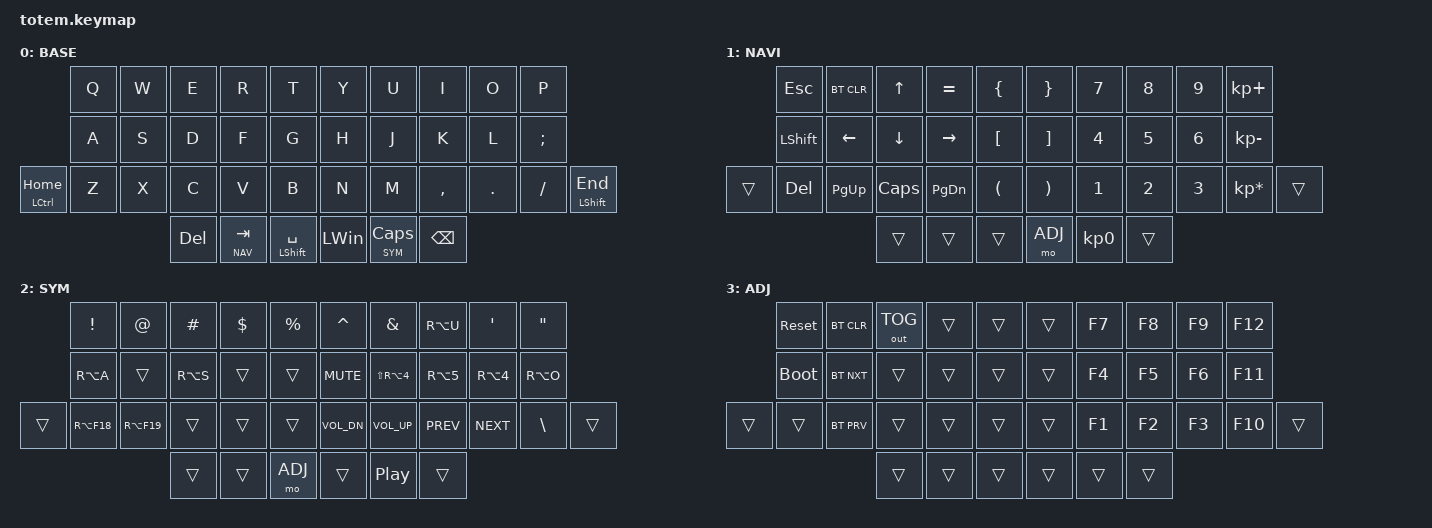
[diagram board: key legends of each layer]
//
//                                                        ▀▀▀▀▀     ▀▀▀▀▀          ▀▀█▀▀
//                                                        ▄▀▀▀▄  ▄  ▄▀▀▀▄  ▄  ▄▀▀▀▄  █  ▄▀▀▀▄
//                                                        █   █  █  █   █  █  █   █  █  █   █
//                                                         ▀▀▀   █   ▀▀▀   █   ▀▀▀   ▀   ▀▀▀
//                                                               █      ▄▄▄█▄▄▄    █   █  
//                                                               ▀      █  █  █     █▄█
//                                                             ▀▀▀▀▀    █  █  █      ▀
//                                                                      ▀  ▀  ▀
//
// ▄▄▄▄▄▄▄▄▄▄▄▄▄▄▄▄▄▄▄▄▄▄▄▄▄▄▄▄▄▄▄▄▄▄▄▄▄▄▄▄▄▄▄▄▄▄▄▄▄▄▄▄▄▄▄▄▄▄▄▄▄▄▄▄▄▄▄▄▄▄▄▄▄▄▄▄▄▄▄▄▄▄▄▄▄▄▄▄▄▄▄▄▄▄▄▄▄▄▄▄▄▄▄▄▄▄▄▄▄▄▄▄▄▄▄▄▄▄▄▄▄▄▄▄▄▄▄▄▄▄▄▄▄▄▄▄▄▄▄▄▄▄▄▄▄▄▄▄▄

#include <behaviors.dtsi>
#include <dt-bindings/zmk/bt.h>
#include <dt-bindings/zmk/keys.h>
#include <dt-bindings/zmk/outputs.h>

#define BASE 0
#define NAV  1
#define SYM  2
#define ADJ  3

&mt {
    quick-tap-ms = <100>;
    global-quick-tap;
    flavor = "tap-preferred";
    tapping-term-ms = <170>;
};

/ {
    combos {
        compatible = "zmk,combos";

        combo_esc {
            timeout-ms = <50>;
            key-positions = <0 1>;
            bindings = <&kp ESC>;
        };

        enter {
            bindings = <&kp ENTER>;
            key-positions = <16 17 18>;
        };
    };

    keymap {
        compatible = "zmk,keymap";

        // ▄▄▄▄▄▄▄▄▄▄▄▄▄▄▄▄▄▄▄▄▄▄▄▄▄▄▄▄▄▄▄▄▄▄▄▄▄▄▄▄▄▄▄▄▄▄▄▄▄▄▄▄▄▄▄▄▄▄▄▄▄▄▄▄▄▄▄▄▄▄▄▄▄▄▄▄▄▄▄▄▄▄▄▄▄▄▄▄▄▄▄▄▄▄▄▄▄▄▄▄▄▄▄▄▄▄▄▄▄▄▄▄▄▄▄▄▄▄▄▄▄▄▄▄▄▄▄▄▄▄▄▄▄▄▄▄▄▄▄▄▄▄▄▄▄▄▄▄▄

        base_layer {
            // ┏━━━━━━━━━━━━━━━━━━━━━━━━━━━━━━━━━━━━━━━┓

            label = "BASE";

            // ┗━━━━━━━━━━━━━━━━━━━━━━━━━━━━━━━━━━━━━━━┛
            //             ┏━━━━━━━━━━━┳━━━━━━━━━━━┳━━━━━━━━━━━┳━━━━━━━━━━━┳━━━━━━━━━━━┓   ┏━━━━━━━━━━━┳━━━━━━━━━━━┳━━━━━━━━━━━┳━━━━━━━━━━━┳━━━━━━━━━━━┓
            //             ┃     Q     ┃     W     ┃     E     ┃     R     ┃     T     ┃   ┃     Y     ┃     U     ┃     I     ┃     O     ┃     P     ┃
            //             ┣━━━━━━━━━━━╋━━━━━━━━━━━╋━━━━━━━━━━━╋━━━━━━━━━━━╋━━━━━━━━━━━┫   ┣━━━━━━━━━━━╋━━━━━━━━━━━╋━━━━━━━━━━━╋━━━━━━━━━━━╋━━━━━━━━━━━┫
            //             ┃     A     ┃     S     ┃     D     ┃     F     ┃     G     ┃   ┃     H     ┃     J     ┃     K     ┃     L     ┃     ;     ┃
            // ┏━━━━━━━━━━━╋━━━━━━━━━━━╋━━━━━━━━━━━╋━━━━━━━━━━━╋━━━━━━━━━━━╋━━━━━━━━━━━┫   ┣━━━━━━━━━━━╋━━━━━━━━━━━╋━━━━━━━━━━━╋━━━━━━━━━━━╋━━━━━━━━━━━╋━━━━━━━━━━━┓
            // ┃     Q     ┃     Z     ┃     X     ┃     C     ┃     V     ┃     B     ┃   ┃     N     ┃     M     ┃     ,     ┃     .     ┃     /     ┃     \     ┃
            // ┗━━━━━━━━━━━┻━━━━━━━━━━━┻━━━━━━━━━━━╋━━━━━━━━━━━╋━━━━━━━━━━━╋━━━━━━━━━━━┫   ┣━━━━━━━━━━━╋━━━━━━━━━━━╋━━━━━━━━━━━╋━━━━━━━━━━━┻━━━━━━━━━━━┻━━━━━━━━━━━┛
            //                                     ┃    DEL    ┃    TAB    ┃    SPC    ┃   ┃   ENTER   ┃           ┃   BSPC    ┃
            //                                     ┗━━━━━━━━━━━┻━━━━━━━━━━━┻━━━━━━━━━━━┛   ┗━━━━━━━━━━━┻━━━━━━━━━━━┻━━━━━━━━━━━┛

            bindings = <
                       &kp Q  &kp W  &kp E    &kp R        &kp T                   &kp Y         &kp U             &kp I          &kp O    &kp P
                       &kp A  &kp S  &kp D    &kp F        &kp G                   &kp H         &kp J             &kp K          &kp L    &kp SEMI
&mt LEFT_CONTROL HOME  &kp Z  &kp X  &kp C    &kp V        &kp B                   &kp N         &kp M             &kp COMMA      &kp DOT  &kp FSLH  &mt LEFT_SHIFT END
                                     &kp DEL  &lt NAV TAB  &mt LEFT_SHIFT SPACE    &kp LEFT_WIN  &lt SYM CAPSLOCK  &kp BACKSPACE
            >;
        };

        // ▄▄▄▄▄▄▄▄▄▄▄▄▄▄▄▄▄▄▄▄▄▄▄▄▄▄▄▄▄▄▄▄▄▄▄▄▄▄▄▄▄▄▄▄▄▄▄▄▄▄▄▄▄▄▄▄▄▄▄▄▄▄▄▄▄▄▄▄▄▄▄▄▄▄▄▄▄▄▄▄▄▄▄▄▄▄▄▄▄▄▄▄▄▄▄▄▄▄▄▄▄▄▄▄▄▄▄▄▄▄▄▄▄▄▄▄▄▄▄▄▄▄▄▄▄▄▄▄▄▄▄▄▄▄▄▄▄▄▄▄▄▄▄▄▄▄▄▄▄

        nav_layer {
            // ┏━━━━━━━━━━━━━━━━━━━━━━━━━━━━━━━━━━━━━━━┓

            label = "NAVI";

            // ┗━━━━━━━━━━━━━━━━━━━━━━━━━━━━━━━━━━━━━━━┛
            //             ┏━━━━━━━━━━━┳━━━━━━━━━━━┳━━━━━━━━━━━┳━━━━━━━━━━━┳━━━━━━━━━━━┓   ┏━━━━━━━━━━━┳━━━━━━━━━━━┳━━━━━━━━━━━┳━━━━━━━━━━━┳━━━━━━━━━━━┓
            //             ┃           ┃           ┃     UP    ┃           ┃     {     ┃   ┃     }     ┃     7     ┃     8     ┃     9     ┃     +     ┃
            //             ┣━━━━━━━━━━━╋━━━━━━━━━━━╋━━━━━━━━━━━╋━━━━━━━━━━━╋━━━━━━━━━━━┫   ┣━━━━━━━━━━━╋━━━━━━━━━━━╋━━━━━━━━━━━╋━━━━━━━━━━━╋━━━━━━━━━━━┫
            //             ┃   SHIFT   ┃   LEFT    ┃    DOWN   ┃   RIGHT   ┃     [     ┃   ┃     ]     ┃     4     ┃     5     ┃     6     ┃     -     ┃
            // ┏━━━━━━━━━━━╋━━━━━━━━━━━╋━━━━━━━━━━━╋━━━━━━━━━━━╋━━━━━━━━━━━╋━━━━━━━━━━━┫   ┣━━━━━━━━━━━╋━━━━━━━━━━━╋━━━━━━━━━━━╋━━━━━━━━━━━╋━━━━━━━━━━━╋━━━━━━━━━━━┓
            // ┃           ┃           ┃   P UP    ┃  C LOCK   ┃  P DOWN   ┃     (     ┃   ┃     )     ┃     1     ┃     2     ┃     3     ┃     *     ┃           ┃
            // ┗━━━━━━━━━━━┻━━━━━━━━━━━┻━━━━━━━━━━━╋━━━━━━━━━━━╋━━━━━━━━━━━╋━━━━━━━━━━━┫   ┣━━━━━━━━━━━╋━━━━━━━━━━━╋━━━━━━━━━━━╋━━━━━━━━━━━┻━━━━━━━━━━━┻━━━━━━━━━━━┛
            //                                     ┃           ┃    TAB    ┃    SPC    ┃   ┃    DEL    ┃     0     ┃           ┃
            //                                     ┗━━━━━━━━━━━┻━━━━━━━━━━━┻━━━━━━━━━━━┛   ┗━━━━━━━━━━━┻━━━━━━━━━━━┻━━━━━━━━━━━┛

            bindings = <
        &kp ESC    &bt BT_CLR  &kp UP    &kp EQUAL  &kp LBRC    &kp RBRC  &kp N7        &kp N8        &kp N9        &kp KP_PLUS
        &kp LSHFT  &kp LEFT    &kp DOWN  &kp RIGHT  &kp LBKT    &kp RBKT  &kp NUMBER_4  &kp N5        &kp NUMBER_6  &kp KP_MINUS
&trans  &kp DEL    &kp PG_UP   &kp CAPS  &kp PG_DN  &kp LPAR    &kp RPAR  &kp NUMBER_1  &kp NUMBER_2  &kp NUMBER_3  &kp KP_MULTIPLY  &trans
                               &trans    &trans     &trans      &mo ADJ   &kp KP_N0     &trans
            >;
        };

        // ▄▄▄▄▄▄▄▄▄▄▄▄▄▄▄▄▄▄▄▄▄▄▄▄▄▄▄▄▄▄▄▄▄▄▄▄▄▄▄▄▄▄▄▄▄▄▄▄▄▄▄▄▄▄▄▄▄▄▄▄▄▄▄▄▄▄▄▄▄▄▄▄▄▄▄▄▄▄▄▄▄▄▄▄▄▄▄▄▄▄▄▄▄▄▄▄▄▄▄▄▄▄▄▄▄▄▄▄▄▄▄▄▄▄▄▄▄▄▄▄▄▄▄▄▄▄▄▄▄▄▄▄▄▄▄▄▄▄▄▄▄▄▄▄▄▄▄▄▄

        sim_layer {
            // ┏━━━━━━━━━━━━━━━━━━━━━━━━━━━━━━━━━━━━━━━┓

            label = "SYM";

            // ┗━━━━━━━━━━━━━━━━━━━━━━━━━━━━━━━━━━━━━━━┛
            //             ┏━━━━━━━━━━━┳━━━━━━━━━━━┳━━━━━━━━━━━┳━━━━━━━━━━━┳━━━━━━━━━━━┓   ┏━━━━━━━━━━━┳━━━━━━━━━━━┳━━━━━━━━━━━┳━━━━━━━━━━━┳━━━━━━━━━━━┓
            //             ┃     !     ┃     @     ┃     #     ┃     $     ┃     %     ┃   ┃     ˆ     ┃     &     ┃     Ü     ┃     '     ┃     "     ┃
            //             ┣━━━━━━━━━━━╋━━━━━━━━━━━╋━━━━━━━━━━━╋━━━━━━━━━━━╋━━━━━━━━━━━┫   ┣━━━━━━━━━━━╋━━━━━━━━━━━╋━━━━━━━━━━━╋━━━━━━━━━━━╋━━━━━━━━━━━┫
            //             ┃     Ä     ┃           ┃    SZ     ┃           ┃           ┃   ┃   MUTE    ┃   YEN     ┃   EURO    ┃  POUND    ┃     Ö     ┃
            // ┏━━━━━━━━━━━╋━━━━━━━━━━━╋━━━━━━━━━━━╋━━━━━━━━━━━╋━━━━━━━━━━━╋━━━━━━━━━━━┫   ┣━━━━━━━━━━━╋━━━━━━━━━━━╋━━━━━━━━━━━╋━━━━━━━━━━━╋━━━━━━━━━━━╋━━━━━━━━━━━┓
            // ┃           ┃  EMAIL1   ┃  EMAIL2   ┃           ┃           ┃           ┃   ┃   VOL-    ┃   VOL+    ┃   LAST    ┃   NEXT    ┃     \     ┃           ┃
            // ┗━━━━━━━━━━━┻━━━━━━━━━━━┻━━━━━━━━━━━╋━━━━━━━━━━━╋━━━━━━━━━━━╋━━━━━━━━━━━┫   ┣━━━━━━━━━━━╋━━━━━━━━━━━╋━━━━━━━━━━━╋━━━━━━━━━━━┻━━━━━━━━━━━┻━━━━━━━━━━━┛
            //                                     ┃           ┃    GIF    ┃    ADJ    ┃   ┃           ┃           ┃           ┃
            //                                     ┗━━━━━━━━━━━┻━━━━━━━━━━━┻━━━━━━━━━━━┛   ┗━━━━━━━━━━━┻━━━━━━━━━━━┻━━━━━━━━━━━┛

            bindings = <
        &kp EXCL     &kp AT       &kp HASH   &kp DLLR  &kp PRCNT    &kp CARET     &kp AMPS        &kp RA(U)   &kp SQT     &kp DQT
        &kp RA(A)    &trans       &kp RA(S)  &trans    &trans       &kp C_MUTE    &kp LS(RA(N4))  &kp RA(N5)  &kp RA(N4)  &kp RA(O)
&trans  &kp RA(F18)  &kp RA(F19)  &trans     &trans    &trans       &kp C_VOL_DN  &kp C_VOL_UP    &kp C_PREV  &kp C_NEXT  &kp BSLH   &trans
                                  &trans     &trans    &mo ADJ      &trans        &kp C_PP        &trans
            >;
        };

        // ▄▄▄▄▄▄▄▄▄▄▄▄▄▄▄▄▄▄▄▄▄▄▄▄▄▄▄▄▄▄▄▄▄▄▄▄▄▄▄▄▄▄▄▄▄▄▄▄▄▄▄▄▄▄▄▄▄▄▄▄▄▄▄▄▄▄▄▄▄▄▄▄▄▄▄▄▄▄▄▄▄▄▄▄▄▄▄▄▄▄▄▄▄▄▄▄▄▄▄▄▄▄▄▄▄▄▄▄▄▄▄▄▄▄▄▄▄▄▄▄▄▄▄▄▄▄▄▄▄▄▄▄▄▄▄▄▄▄▄▄▄▄▄▄▄▄▄▄▄

        adjust_layer {
            // ┏━━━━━━━━━━━━━━━━━━━━━━━━━━━━━━━━━━━━━━━┓

            label = "ADJ";

            // ┗━━━━━━━━━━━━━━━━━━━━━━━━━━━━━━━━━━━━━━━┛
            //             ┏━━━━━━━━━━━┳━━━━━━━━━━━┳━━━━━━━━━━━┳━━━━━━━━━━━┳━━━━━━━━━━━┓   ┏━━━━━━━━━━━┳━━━━━━━━━━━┳━━━━━━━━━━━┳━━━━━━━━━━━┳━━━━━━━━━━━┓
            //             ┃   RESET   ┃ BT CLEAR  ┃  OUT TOG  ┃           ┃           ┃   ┃           ┃    F7     ┃    F8     ┃    F9     ┃    F12    ┃
            //             ┣━━━━━━━━━━━╋━━━━━━━━━━━╋━━━━━━━━━━━╋━━━━━━━━━━━╋━━━━━━━━━━━┫   ┣━━━━━━━━━━━╋━━━━━━━━━━━╋━━━━━━━━━━━╋━━━━━━━━━━━╋━━━━━━━━━━━┫
            //             ┃ BOOTLOAD  ┃ BT NEXT   ┃           ┃           ┃           ┃   ┃           ┃    F4     ┃    F5     ┃    F6     ┃    F11    ┃
            // ┏━━━━━━━━━━━╋━━━━━━━━━━━╋━━━━━━━━━━━╋━━━━━━━━━━━╋━━━━━━━━━━━╋━━━━━━━━━━━┫   ┣━━━━━━━━━━━╋━━━━━━━━━━━╋━━━━━━━━━━━╋━━━━━━━━━━━╋━━━━━━━━━━━╋━━━━━━━━━━━┓
            // ┃           ┃           ┃ BT PREV   ┃           ┃           ┃           ┃   ┃           ┃    F1     ┃    F2     ┃    F3     ┃    F10    ┃           ┃
            // ┗━━━━━━━━━━━┻━━━━━━━━━━━┻━━━━━━━━━━━╋━━━━━━━━━━━╋━━━━━━━━━━━╋━━━━━━━━━━━┫   ┣━━━━━━━━━━━╋━━━━━━━━━━━╋━━━━━━━━━━━╋━━━━━━━━━━━┻━━━━━━━━━━━┻━━━━━━━━━━━┛
            //                                     ┃           ┃           ┃           ┃   ┃           ┃           ┃           ┃
            //                                     ┗━━━━━━━━━━━┻━━━━━━━━━━━┻━━━━━━━━━━━┛   ┗━━━━━━━━━━━┻━━━━━━━━━━━┻━━━━━━━━━━━┛

            bindings = <
        &sys_reset   &bt BT_CLR  &out OUT_TOG  &trans  &trans    &trans  &kp F7  &kp F8  &kp F9  &kp F12
        &bootloader  &bt BT_NXT  &trans        &trans  &trans    &trans  &kp F4  &kp F5  &kp F6  &kp F11
&trans  &trans       &bt BT_PRV  &trans        &trans  &trans    &trans  &kp F1  &kp F2  &kp F3  &kp F10  &trans
                                 &trans        &trans  &trans    &trans  &trans  &trans
            >;
        };
    };
};
